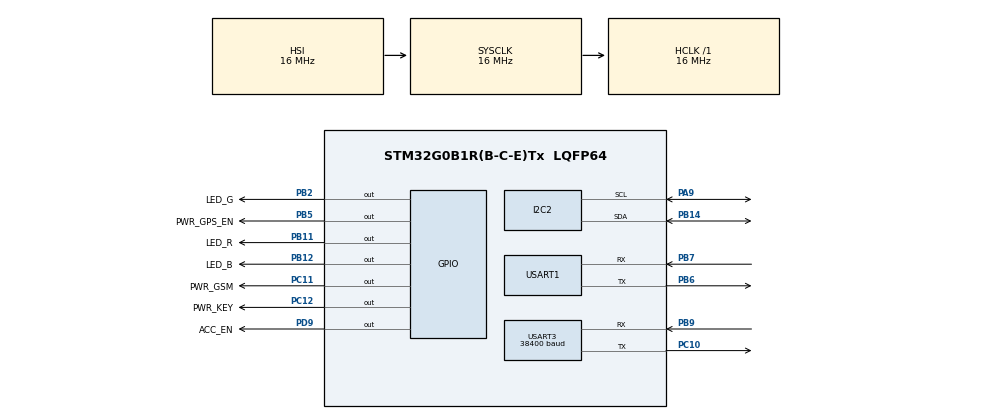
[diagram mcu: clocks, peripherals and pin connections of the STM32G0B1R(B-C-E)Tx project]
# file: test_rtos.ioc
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FREERTOS.Tasks01=defaultTask,24,128,StartDefaultTask,Default,NULL,Dynamic,NULL,NULL;GPS,8,128,GPS_Task,Default,NULL,Static,GPS_TaskBuffer,GPS_TaskControlBlock;GSM,8,128,GSM_Task,Default,NULL,Static,GSMBuffer,GSMControlBlock;LIS,8,128,LIS_Task,Default,NULL,Static,LISBuffer,LISControlBlock
FREERTOS.configUSE_NEWLIB_REENTRANT=1
I2C2.Analog_Filter=I2C_ANALOGFILTER_DISABLE
I2C2.Timing=0x00303D5D
Mcu.Family=STM32G0
Mcu.Name=STM32G0B1R(B-C-E)Tx
Mcu.Package=LQFP64
NVIC.TIM1_BRK_UP_TRG_COM_IRQn=true\:3\:0\:false\:false\:true\:false\:false\:true\:true
NVIC.TimeBase=TIM1_BRK_UP_TRG_COM_IRQn
NVIC.TimeBaseIP=TIM1
NVIC.USART1_IRQn=true\:3\:0\:false\:false\:true\:true\:true\:true\:true
NVIC.USART3_4_5_6_LPUART1_IRQn=true\:3\:0\:false\:false\:true\:true\:true\:true\:true
PA9.Mode=I2C
PA9.Signal=I2C2_SCL
PB11.GPIO_Label=LED_R
PB11.PinState=GPIO_PIN_SET
PB11.Signal=GPIO_Output
PB12.GPIO_Label=LED_B
PB12.GPIO_PuPd=GPIO_PULLUP
PB12.PinState=GPIO_PIN_SET
PB12.Signal=GPIO_Output
PB14.Mode=I2C
PB14.Signal=I2C2_SDA
PB2.GPIO_Label=LED_G
PB2.PinState=GPIO_PIN_SET
PB2.Signal=GPIO_Output
PB5.GPIO_Label=PWR_GPS_EN
PB5.GPIO_PuPd=GPIO_PULLUP
PB5.Signal=GPIO_Output
PB6.Mode=Asynchronous
PB6.Signal=USART1_TX
PB7.Mode=Asynchronous
PB7.Signal=USART1_RX
PB9.Mode=Asynchronous
PB9.Signal=USART3_RX
PC10.Mode=Asynchronous
PC10.Signal=USART3_TX
PC11.GPIO_Label=PWR_GSM
PC11.GPIO_PuPd=GPIO_PULLUP
PC11.Signal=GPIO_Output
PC12.GPIO_Label=PWR_KEY
PC12.GPIO_PuPd=GPIO_PULLUP
PC12.GPIO_Speed=GPIO_SPEED_FREQ_LOW
PC12.Signal=GPIO_Output
PD9.GPIO_Label=ACC_EN
PD9.GPIO_ModeDefaultOutputPP=GPIO_MODE_OUTPUT_PP
PD9.GPIO_PuPd=GPIO_PULLUP
PD9.Signal=GPIO_Output
ProjectManager.HeapSize=0x200
ProjectManager.StackSize=0x400
ProjectManager.TargetToolchain=STM32CubeIDE
RCC.AHBFreq_Value=16000000
RCC.CortexFreq_Value=16000000
RCC.EXTERNAL_CLOCK_VALUE=48000
RCC.HCLKFreq_Value=16000000
RCC.HSE_VALUE=8000000
RCC.HSI48_VALUE=48000000
RCC.HSI_VALUE=16000000
RCC.LSE_VALUE=32768
RCC.SYSCLKFreq_VALUE=16000000
RCC.USBFreq_Value=48000000
RCC.VCOOutputFreq_Value=128000000
USART1.VirtualMode-Asynchronous=VM_ASYNC
USART3.BaudRate=38400
USART3.VirtualMode-Asynchronous=VM_ASYNC
VP_FREERTOS_VS_CMSIS_V2.Mode=CMSIS_V2
VP_SYS_VS_DBSignals.Mode=DisableDeadBatterySignals
VP_SYS_VS_tim1.Mode=TIM1
board=custom

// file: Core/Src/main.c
/* USER CODE BEGIN Header */
/**
  ******************************************************************************
  * @file           : main.c
  * @brief          : Main program body
  ******************************************************************************
  * @attention
  *
  * Copyright (c) 2023 STMicroelectronics.
  * All rights reserved.
  *
  * This software is licensed under terms that can be found in the LICENSE file
  * in the root directory of this software component.
  * If no LICENSE file comes with this software, it is provided AS-IS.
  *
  ******************************************************************************
  */
/* USER CODE END Header */
#include "main.h"
#include "cmsis_os.h"

/* USER CODE BEGIN Includes */
#include "string.h"
#include <stdbool.h>
#include <stdlib.h>
#include "gps.h"
#include "gsm.h"
#include "lis2dh12_reg.h"
/* USER CODE END Includes */

typedef StaticTask_t osStaticThreadDef_t;

/* USER CODE BEGIN PD */
#define LED_R_ON  HAL_GPIO_WritePin(GPIOB, LED_R_Pin, GPIO_PIN_RESET)
#define LED_R_OFF HAL_GPIO_WritePin(GPIOB, LED_R_Pin, GPIO_PIN_SET)
#define LED_G_ON  HAL_GPIO_WritePin(GPIOB, LED_G_Pin, GPIO_PIN_RESET)
#define LED_G_OFF HAL_GPIO_WritePin(GPIOB, LED_G_Pin, GPIO_PIN_SET)
#define LED_B_ON  HAL_GPIO_WritePin(GPIOB, LED_B_Pin, GPIO_PIN_RESET)
#define LED_B_OFF HAL_GPIO_WritePin(GPIOB, LED_B_Pin, GPIO_PIN_SET)

#define PWR_GPS_ON  HAL_GPIO_WritePin(PWR_GPS_EN_GPIO_Port, PWR_GPS_EN_Pin, GPIO_PIN_SET)
#define PWR_GPS_OFF HAL_GPIO_WritePin(PWR_GPS_EN_GPIO_Port, PWR_GPS_EN_Pin, GPIO_PIN_RESET)
/* USER CODE END PD */

I2C_HandleTypeDef hi2c2;

UART_HandleTypeDef huart1;
UART_HandleTypeDef huart3;

/* Definitions for defaultTask */
osThreadId_t defaultTaskHandle;
const osThreadAttr_t defaultTask_attributes = {
  .name = "defaultTask",
  .priority = (osPriority_t) osPriorityNormal,
  .stack_size = 128 * 4
};
/* Definitions for GPS */
osThreadId_t GPSHandle;
uint32_t GPS_TaskBuffer[ 128 ];
osStaticThreadDef_t GPS_TaskControlBlock;
const osThreadAttr_t GPS_attributes = {
  .name = "GPS",
  .stack_mem = &GPS_TaskBuffer[0],
  .stack_size = sizeof(GPS_TaskBuffer),
  .cb_mem = &GPS_TaskControlBlock,
  .cb_size = sizeof(GPS_TaskControlBlock),
  .priority = (osPriority_t) osPriorityLow,
};
/* Definitions for GSM */
osThreadId_t GSMHandle;
uint32_t GSMBuffer[ 128 ];
osStaticThreadDef_t GSMControlBlock;
const osThreadAttr_t GSM_attributes = {
  .name = "GSM",
  .stack_mem = &GSMBuffer[0],
  .stack_size = sizeof(GSMBuffer),
  .cb_mem = &GSMControlBlock,
  .cb_size = sizeof(GSMControlBlock),
  .priority = (osPriority_t) osPriorityLow,
};
/* Definitions for LIS */
osThreadId_t LISHandle;
uint32_t LISBuffer[ 128 ];
osStaticThreadDef_t LISControlBlock;
const osThreadAttr_t LIS_attributes = {
  .name = "LIS",
  .stack_mem = &LISBuffer[0],
  .stack_size = sizeof(LISBuffer),
  .cb_mem = &LISControlBlock,
  .cb_size = sizeof(LISControlBlock),
  .priority = (osPriority_t) osPriorityLow,
};

void SystemClock_Config(void);
static void MX_GPIO_Init(void);
static void MX_USART1_UART_Init(void);
static void MX_I2C2_Init(void);
static void MX_USART3_UART_Init(void);
void StartDefaultTask(void *argument);
void GPS_Task(void *argument);
void GSM_Task(void *argument);
void LIS_Task(void *argument);

/* USER CODE BEGIN 0 */
extern uint8_t gps_data[200];
extern GPS_INFO gps_info;
extern uint8_t gps_pack[200];

extern uint8_t gsm_data[200];
uint8_t u3;
extern uint8_t p_w;
extern uint8_t signal_level;

static axis3bit16_t data_raw_acceleration;
static axis1bit16_t data_raw_temperature;
static float acceleration_mg[3];
static float temperature_degC;
static uint8_t whoamI;

/* USER CODE END 0 */

int main(void)
{

  /* MCU Configuration--------------------------------------------------------*/

  /* Reset of all peripherals, Initializes the Flash interface and the Systick. */
  HAL_Init();

  /* Configure the system clock */
  SystemClock_Config();

  /* Initialize all configured peripherals */
  MX_GPIO_Init();
  MX_USART1_UART_Init();
  MX_I2C2_Init();
  MX_USART3_UART_Init();

  /* Init scheduler */
  osKernelInitialize();

  /* Create the thread(s) */
  /* creation of defaultTask */
  defaultTaskHandle = osThreadNew(StartDefaultTask, NULL, &defaultTask_attributes);

  /* creation of GPS */
  GPSHandle = osThreadNew(GPS_Task, NULL, &GPS_attributes);

  /* creation of GSM */
  GSMHandle = osThreadNew(GSM_Task, NULL, &GSM_attributes);

  /* creation of LIS */
  LISHandle = osThreadNew(LIS_Task, NULL, &LIS_attributes);

  /* Start scheduler */
  osKernelStart();

  /* We should never get here as control is now taken by the scheduler */
  /* Infinite loop */
  while (1)
  {

  }
}

void SystemClock_Config(void)
{
  RCC_OscInitTypeDef RCC_OscInitStruct = {0};
  RCC_ClkInitTypeDef RCC_ClkInitStruct = {0};

  /** Configure the main internal regulator output voltage
  */
  HAL_PWREx_ControlVoltageScaling(PWR_REGULATOR_VOLTAGE_SCALE1);

  /** Initializes the RCC Oscillators according to the specified parameters
  * in the RCC_OscInitTypeDef structure.
  */
  RCC_OscInitStruct.OscillatorType = RCC_OSCILLATORTYPE_HSI;
  RCC_OscInitStruct.HSIState = RCC_HSI_ON;
  RCC_OscInitStruct.HSIDiv = RCC_HSI_DIV1;
  RCC_OscInitStruct.HSICalibrationValue = RCC_HSICALIBRATION_DEFAULT;
  RCC_OscInitStruct.PLL.PLLState = RCC_PLL_NONE;
  if (HAL_RCC_OscConfig(&RCC_OscInitStruct) != HAL_OK)
  {
    Error_Handler();
  }

  /** Initializes the CPU, AHB and APB buses clocks
  */
  RCC_ClkInitStruct.ClockType = RCC_CLOCKTYPE_HCLK|RCC_CLOCKTYPE_SYSCLK
                              |RCC_CLOCKTYPE_PCLK1;
  RCC_ClkInitStruct.SYSCLKSource = RCC_SYSCLKSOURCE_HSI;
  RCC_ClkInitStruct.AHBCLKDivider = RCC_SYSCLK_DIV1;
  RCC_ClkInitStruct.APB1CLKDivider = RCC_HCLK_DIV1;

  if (HAL_RCC_ClockConfig(&RCC_ClkInitStruct, FLASH_LATENCY_0) != HAL_OK)
  {
    Error_Handler();
  }
}

static void MX_I2C2_Init(void)
{

  hi2c2.Instance = I2C2;
  hi2c2.Init.Timing = 0x00303D5D;
  hi2c2.Init.OwnAddress1 = 0;
  hi2c2.Init.AddressingMode = I2C_ADDRESSINGMODE_7BIT;
  hi2c2.Init.DualAddressMode = I2C_DUALADDRESS_DISABLE;
  hi2c2.Init.OwnAddress2 = 0;
  hi2c2.Init.OwnAddress2Masks = I2C_OA2_NOMASK;
  hi2c2.Init.GeneralCallMode = I2C_GENERALCALL_DISABLE;
  hi2c2.Init.NoStretchMode = I2C_NOSTRETCH_DISABLE;
  if (HAL_I2C_Init(&hi2c2) != HAL_OK)
  {
    Error_Handler();
  }

  /** Configure Analogue filter
  */
  if (HAL_I2CEx_ConfigAnalogFilter(&hi2c2, I2C_ANALOGFILTER_DISABLE) != HAL_OK)
  {
    Error_Handler();
  }

  /** Configure Digital filter
  */
  if (HAL_I2CEx_ConfigDigitalFilter(&hi2c2, 0) != HAL_OK)
  {
    Error_Handler();
  }

}

static void MX_USART1_UART_Init(void)
{

  huart1.Instance = USART1;
  huart1.Init.BaudRate = 115200;
  huart1.Init.WordLength = UART_WORDLENGTH_8B;
  huart1.Init.StopBits = UART_STOPBITS_1;
  huart1.Init.Parity = UART_PARITY_NONE;
  huart1.Init.Mode = UART_MODE_TX_RX;
  huart1.Init.HwFlowCtl = UART_HWCONTROL_NONE;
  huart1.Init.OverSampling = UART_OVERSAMPLING_16;
  huart1.Init.OneBitSampling = UART_ONE_BIT_SAMPLE_DISABLE;
  huart1.Init.ClockPrescaler = UART_PRESCALER_DIV1;
  huart1.AdvancedInit.AdvFeatureInit = UART_ADVFEATURE_NO_INIT;
  if (HAL_UART_Init(&huart1) != HAL_OK)
  {
    Error_Handler();
  }
  if (HAL_UARTEx_SetTxFifoThreshold(&huart1, UART_TXFIFO_THRESHOLD_1_8) != HAL_OK)
  {
    Error_Handler();
  }
  if (HAL_UARTEx_SetRxFifoThreshold(&huart1, UART_RXFIFO_THRESHOLD_1_8) != HAL_OK)
  {
    Error_Handler();
  }
  if (HAL_UARTEx_DisableFifoMode(&huart1) != HAL_OK)
  {
    Error_Handler();
  }

}

static void MX_USART3_UART_Init(void)
{

  huart3.Instance = USART3;
  huart3.Init.BaudRate = 38400;
  huart3.Init.WordLength = UART_WORDLENGTH_8B;
  huart3.Init.StopBits = UART_STOPBITS_1;
  huart3.Init.Parity = UART_PARITY_NONE;
  huart3.Init.Mode = UART_MODE_TX_RX;
  huart3.Init.HwFlowCtl = UART_HWCONTROL_NONE;
  huart3.Init.OverSampling = UART_OVERSAMPLING_16;
  huart3.Init.OneBitSampling = UART_ONE_BIT_SAMPLE_DISABLE;
  huart3.Init.ClockPrescaler = UART_PRESCALER_DIV1;
  huart3.AdvancedInit.AdvFeatureInit = UART_ADVFEATURE_NO_INIT;
  if (HAL_UART_Init(&huart3) != HAL_OK)
  {
    Error_Handler();
  }
  if (HAL_UARTEx_SetTxFifoThreshold(&huart3, UART_TXFIFO_THRESHOLD_1_8) != HAL_OK)
  {
    Error_Handler();
  }
  if (HAL_UARTEx_SetRxFifoThreshold(&huart3, UART_RXFIFO_THRESHOLD_1_8) != HAL_OK)
  {
    Error_Handler();
  }
  if (HAL_UARTEx_DisableFifoMode(&huart3) != HAL_OK)
  {
    Error_Handler();
  }

}

static void MX_GPIO_Init(void)
{
  GPIO_InitTypeDef GPIO_InitStruct = {0};

  /* GPIO Ports Clock Enable */
  __HAL_RCC_GPIOC_CLK_ENABLE();
  __HAL_RCC_GPIOB_CLK_ENABLE();
  __HAL_RCC_GPIOA_CLK_ENABLE();
  __HAL_RCC_GPIOD_CLK_ENABLE();

  /*Configure GPIO pin Output Level */
  HAL_GPIO_WritePin(GPIOC, PWR_GSM_Pin|PWR_KEY_Pin, GPIO_PIN_RESET);

  /*Configure GPIO pin Output Level */
  HAL_GPIO_WritePin(GPIOB, LED_G_Pin|LED_R_Pin|LED_B_Pin, GPIO_PIN_SET);

  /*Configure GPIO pin Output Level */
  HAL_GPIO_WritePin(ACC_EN_GPIO_Port, ACC_EN_Pin, GPIO_PIN_RESET);

  /*Configure GPIO pin Output Level */
  HAL_GPIO_WritePin(PWR_GPS_EN_GPIO_Port, PWR_GPS_EN_Pin, GPIO_PIN_RESET);

  /*Configure GPIO pins : PWR_GSM_Pin PWR_KEY_Pin */
  GPIO_InitStruct.Pin = PWR_GSM_Pin|PWR_KEY_Pin;
  GPIO_InitStruct.Mode = GPIO_MODE_OUTPUT_PP;
  GPIO_InitStruct.Pull = GPIO_PULLUP;
  GPIO_InitStruct.Speed = GPIO_SPEED_FREQ_LOW;
  HAL_GPIO_Init(GPIOC, &GPIO_InitStruct);

  /*Configure GPIO pins : LED_G_Pin LED_R_Pin */
  GPIO_InitStruct.Pin = LED_G_Pin|LED_R_Pin;
  GPIO_InitStruct.Mode = GPIO_MODE_OUTPUT_PP;
  GPIO_InitStruct.Pull = GPIO_NOPULL;
  GPIO_InitStruct.Speed = GPIO_SPEED_FREQ_LOW;
  HAL_GPIO_Init(GPIOB, &GPIO_InitStruct);

  /*Configure GPIO pins : LED_B_Pin PWR_GPS_EN_Pin */
  GPIO_InitStruct.Pin = LED_B_Pin|PWR_GPS_EN_Pin;
  GPIO_InitStruct.Mode = GPIO_MODE_OUTPUT_PP;
  GPIO_InitStruct.Pull = GPIO_PULLUP;
  GPIO_InitStruct.Speed = GPIO_SPEED_FREQ_LOW;
  HAL_GPIO_Init(GPIOB, &GPIO_InitStruct);

  /*Configure GPIO pin : ACC_EN_Pin */
  GPIO_InitStruct.Pin = ACC_EN_Pin;
  GPIO_InitStruct.Mode = GPIO_MODE_OUTPUT_PP;
  GPIO_InitStruct.Pull = GPIO_PULLUP;
  GPIO_InitStruct.Speed = GPIO_SPEED_FREQ_LOW;
  HAL_GPIO_Init(ACC_EN_GPIO_Port, &GPIO_InitStruct);

}

void StartDefaultTask(void *argument)
{
  for(;;)
  {
    osDelay(1);
  }
}

void GPS_Task(void *argument)
{
  /* USER CODE BEGIN GPS_Task */
  uint8_t count;
  /* Infinite loop */
  for(;;)
  {
		HAL_UART_Receive_IT(&huart1, gps_data, sizeof(gps_data)/sizeof(gps_data[0]));
		while (HAL_UART_GetState(&huart1) != HAL_UART_STATE_READY) vTaskDelay(50);
		for (uint8_t i=0; i<sizeof(gps_data)/sizeof(gps_data[0]); i++)
		{
			if (gps_data[i] == '$')
			{
				uint8_t p=1;
				gps_pack[0]='$';
				i++;

				while(i<sizeof(gps_data)/sizeof(gps_data[0]))
				{
					if (gps_data[i]==0x0D)
					{
						count=20;
						Check_GPS_Pack();
						break;
					}
					gps_pack[p++]=gps_data[i++];
				}
			}
			if (count)
				count--;

		}

		if (gps_info.fix_valid)
			LED_R_ON;
		else
			gps_info.time_pack.sec & 0x01 && count ? LED_R_ON:LED_R_OFF;

  }
  /* USER CODE END GPS_Task */
}

/* USER CODE BEGIN Header_GSM_Task */
/**
* @brief Function implementing the GSM thread.
* @param argument: Not used
* @retval None
*/

void HAL_UART_RxCpltCallback(UART_HandleTypeDef *huart)
{
     if (huart == &huart3)
     {
	 gsm_data[p_w++] = u3;
	 if (p_w >= sizeof(gsm_data)/sizeof(gsm_data[0]))
		 p_w = 0;
	 HAL_UART_Receive_IT(&huart3,&u3,1);
     }
}

uint8_t error;
void HAL_UART_ErrorCallback(UART_HandleTypeDef *huart)
{
    if (huart == &huart3)
    {
    	error++;
    	HAL_UART_Receive_IT(&huart3,&u3,1);
    }
}

/* USER CODE END Header_GSM_Task */
void GSM_Task(void *argument)
{
  /* USER CODE BEGIN GSM_Task */
	PWR_GPS_ON;
	PWR_GSM_ON;
	KEY_GSM_OFF;
	osDelay(150);
	KEY_GSM_ON;
	osDelay(800);
	KEY_GSM_OFF;
	HAL_UART_Receive_IT(&huart3, &u3, 1);
 /* Infinite loop */
  for(;;)
  {
	  gsm();
	  vTaskDelay(50);
	  if (signal_level)
		  LED_G_ON;
	  else
		 p_w & 0x10?LED_G_ON:LED_G_OFF;
  }
  /* USER CODE END GSM_Task */
}

/* USER CODE BEGIN Header_LIS_Task */
static int32_t platform_write(void *handle, uint8_t reg, uint8_t *bufp,
                              uint16_t len)
{
  if (handle == &hi2c2)
  {
    /* Write multiple command */
    reg |= 0x80;
    HAL_I2C_Mem_Write(handle, LIS2DH12_I2C_ADD_H, reg,
                      I2C_MEMADD_SIZE_8BIT, bufp, len, 1000);
  }
  return 0;
}

static int32_t platform_read(void *handle, uint8_t reg, uint8_t *bufp,
                             uint16_t len)
{
  if (handle == &hi2c2)
  {
    /* Read multiple command */
    reg |= 0x80;
    HAL_I2C_Mem_Read(handle, LIS2DH12_I2C_ADD_H, reg,
                     I2C_MEMADD_SIZE_8BIT, bufp, len, 1000);
  }
  return 0;
}
/**
* @brief Function implementing the LIS thread.
* @param argument: Not used
* @retval None
*/
/* USER CODE END Header_LIS_Task */
void LIS_Task(void *argument)
{
  /* USER CODE BEGIN LIS_Task */
	  lis2dh12_ctx_t dev_ctx;

	  dev_ctx.write_reg = platform_write;
	  dev_ctx.read_reg = platform_read;
	  dev_ctx.handle = &hi2c2;

	  uint8_t state=0;
	  HAL_GPIO_WritePin(GPIOD, ACC_EN_Pin, GPIO_PIN_SET);
	  /*
	   *  Check device ID
	   */
	  /* Infinite loop */
	  for(;;)
	  {
		  vTaskDelay(50);
	  switch (state)
	  {
	  case 0:
		  lis2dh12_device_id_get(&dev_ctx, &whoamI);
		  if (whoamI == LIS2DH12_ID)
			  state = 1;
		  break;
	  case 1:

		/*
		 *  Enable Block Data Update
		 */
		lis2dh12_block_data_update_set(&dev_ctx, PROPERTY_ENABLE);

		/*
		 * Set Output Data Rate to 100Hz
		 */
		lis2dh12_data_rate_set(&dev_ctx, LIS2DH12_ODR_100Hz);

		/*
		 * Set full scale to 2g
		 */
		lis2dh12_full_scale_set(&dev_ctx, LIS2DH12_2g);

		/*
		 * Enable temperature sensor
		 */
		lis2dh12_temperature_meas_set(&dev_ctx, LIS2DH12_TEMP_ENABLE);

		/*
		 * Set device in continuous mode with 12 bit resol.
		 */
		lis2dh12_operating_mode_set(&dev_ctx, LIS2DH12_HR_12bit);
	    state = 2;
	    break;

	  case 2:
		/*
		 * Read samples in polling mode (no int)
		 */

		  lis2dh12_reg_t reg;

		  /*
		   * Read output only if new value available
		   */
		  lis2dh12_xl_data_ready_get(&dev_ctx, &reg.byte);
		  if (reg.byte)
		  {
			/* Read accelerometer data */
			memset(data_raw_acceleration.u8bit, 0x00, 3*sizeof(int16_t));
			lis2dh12_acceleration_raw_get(&dev_ctx, data_raw_acceleration.u8bit);
			acceleration_mg[0] = lis2dh12_from_fs2_hr_to_mg(data_raw_acceleration.i16bit[0]);
			acceleration_mg[1] = lis2dh12_from_fs2_hr_to_mg(data_raw_acceleration.i16bit[1]);
			acceleration_mg[2] = lis2dh12_from_fs2_hr_to_mg(data_raw_acceleration.i16bit[2]);

		  }

		  lis2dh12_temp_data_ready_get(&dev_ctx, &reg.byte);
		  if (reg.byte)
		  {
			/* Read temperature data */
			memset(data_raw_temperature.u8bit, 0x00, sizeof(int16_t));
			lis2dh12_temperature_raw_get(&dev_ctx, data_raw_temperature.u8bit);
			temperature_degC =
			  lis2dh12_from_lsb_hr_to_celsius(data_raw_temperature.i16bit);

		  }

		break;
	  }
	  if (acceleration_mg[0]*acceleration_mg[1]*acceleration_mg[2]<0 )
	    LED_B_ON;
	  else
	    LED_B_OFF;
  }
  /* USER CODE END LIS_Task */
}

void HAL_TIM_PeriodElapsedCallback(TIM_HandleTypeDef *htim)
{
  if (htim->Instance == TIM1) {
    HAL_IncTick();
  }
}

void Error_Handler(void)
{
  __disable_irq();
  while (1)
  {
  }
}
